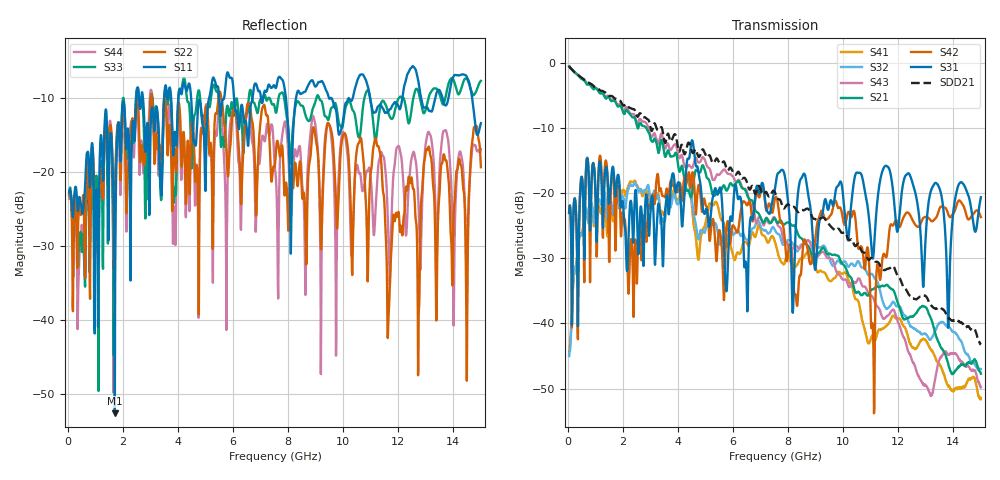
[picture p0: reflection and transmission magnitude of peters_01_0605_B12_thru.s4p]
! peters_01_0605 B12 channel thru response
#  HZ  S  RI  R  50
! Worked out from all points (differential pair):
!   1496 points, 50 MHz to 15 GHz, reference 50 ohm
!   strongest paths, dB at 50 MHz, 3.79 GHz, 7.53 GHz, 11.27 GHz, 15 GHz:
!     S31: -23.0, -17.2, -19.2, -20.1, -20.6
!     S42: -23.0, -18.3, -20.8, -31.0, -23.7
!     S21: -0.6, -14.4, -24.0, -34.4, -47.7
!     S43: -0.5, -13.1, -23.9, -37.5, -49.8
!     S32: -45.0, -21.0, -25.7, -33.9, -47.0
!     S41: -44.8, -20.6, -27.6, -41.1, -51.4
!   taken as a pair (ports 1,3 in; 2,4 out), SDD21 dB: -0.5, -11.8, -20.0, -30.6, -43.3
!   lowest |S11| = -52.7 dB at 1.71 GHz (marker M1), VSWR 1.00, Z = 49.9 + j0.201 ohm
!   |S11| at or under -10 dB: start of sweep to 2.488 GHz; 2.732 GHz to 3.501 GHz (769.1 MHz wide, 24.7 % of centre); 10.98 GHz to 12.15 GHz (1.174 GHz wide, 10.2 % of centre)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
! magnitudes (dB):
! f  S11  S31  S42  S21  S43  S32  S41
! 50 MHz  -22.8  -23.0  -23.0  -0.6  -0.5  -45.0  -44.8
! 1.71 GHz  -52.7  -19.6  -24.2  -5.9  -5.7  -21.3  -22.0
! 2.54 GHz  -8.5  -27.5  -29.0  -10.1  -9.4  -19.3  -19.1
! 9.73 GHz  -11.5  -19.6  -21.2  -29.5  -31.8  -30.8  -32.9
! 11.08 GHz  -11.9  -30.0  -40.9  -34.7  -36.0  -32.6  -41.9
! 11.65 GHz  -11.7  -16.1  -26.8  -34.3  -38.7  -37.5  -40.0
! 15 GHz  -13.4  -20.6  -23.7  -47.7  -49.8  -47.0  -51.4
